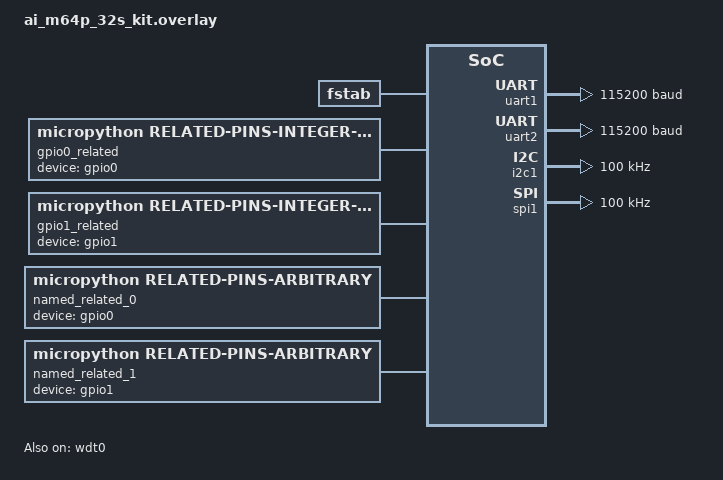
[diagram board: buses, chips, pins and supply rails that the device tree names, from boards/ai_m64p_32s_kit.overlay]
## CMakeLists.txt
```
# This file is part of the MicroPython project, http://micropython.org/
#
# The MIT License (MIT)
#
# Copyright 2020 NXP
#
# Permission is hereby granted, free of charge, to any person obtaining a copy
# of this software and associated documentation files (the "Software"), to deal
# in the Software without restriction, including without limitation the rights
# to use, copy, modify, merge, publish, distribute, sublicense, and/or sell
# copies of the Software, and to permit persons to whom the Software is
# furnished to do so, subject to the following conditions:
#
# The above copyright notice and this permission notice shall be included in
# all copies or substantial portions of the Software.
#
# THE SOFTWARE IS PROVIDED "AS IS", WITHOUT WARRANTY OF ANY KIND, EXPRESS OR
# IMPLIED, INCLUDING BUT NOT LIMITED TO THE WARRANTIES OF MERCHANTABILITY,
# FITNESS FOR A PARTICULAR PURPOSE AND NONINFRINGEMENT. IN NO EVENT SHALL THE
# AUTHORS OR COPYRIGHT HOLDERS BE LIABLE FOR ANY CLAIM, DAMAGES OR OTHER
# LIABILITY, WHETHER IN AN ACTION OF CONTRACT, TORT OR OTHERWISE, ARISING FROM,
# OUT OF OR IN CONNECTION WITH THE SOFTWARE OR THE USE OR OTHER DEALINGS IN
# THE SOFTWARE.

cmake_minimum_required(VERSION 3.20.0)

find_package(Zephyr REQUIRED HINTS $ENV{ZEPHYR_BASE})
project(micropython)

set(MICROPY_PORT_DIR    ${CMAKE_CURRENT_SOURCE_DIR})
set(MICROPY_DIR         ${MICROPY_PORT_DIR}/../..)
set(MICROPY_TARGET      micropython)
string(TOUPPER          ZEPHYR_${BOARD} MICROPY_BOARD)

include(${MICROPY_DIR}/py/py.cmake)
include(${MICROPY_DIR}/extmod/extmod.cmake)

# Resolve MICROPY_FROZEN_MANIFEST before usermod.cmake (and thus
# py/manifest.cmake) runs, so c_module() entries in the manifest are picked up.
if (CONFIG_MICROPY_FROZEN_MODULES)
    cmake_path(ABSOLUTE_PATH CONFIG_MICROPY_FROZEN_MANIFEST BASE_DIRECTORY ${CMAKE_CURRENT_LIST_DIR})
    set(MICROPY_FROZEN_MANIFEST ${CONFIG_MICROPY_FROZEN_MANIFEST})
endif()

include(${MICROPY_DIR}/py/usermod.cmake)

list(APPEND DTS_ROOT ${CMAKE_CURRENT_SOURCE_DIR}/dts)

# Define mpy-cross flags, for use with frozen code.
if(CONFIG_RISCV_ISA_RV32I AND CONFIG_RISCV_ISA_EXT_M AND CONFIG_RISCV_ISA_EXT_C)
    set(ARCH_FLAGS "")
    set(RV32_EXT "")
    if(CONFIG_RISCV_ISA_EXT_ZBA)
        list(APPEND RV32_EXT "zba")
    endif()
    if(CONFIG_RISCV_ISA_EXT_ZCMP)
        list(APPEND RV32_EXT "zcmp")
    endif()
    if(RV32_EXT)
        list(JOIN RV32_EXT "," RV32_EXT)
        set(ARCH_FLAGS "-march-flags=${RV32_EXT}")
    endif()
    set(MICROPY_CROSS_FLAGS "-march=rv32imc ${ARCH_FLAGS}")
elseif(CONFIG_RISCV_ISA_RV64I AND CONFIG_RISCV_ISA_EXT_M AND CONFIG_RISCV_ISA_EXT_C)
    set(MICROPY_CROSS_FLAGS -march=rv64imc)
endif()

set(MICROPY_SOURCE_PORT
    main.c
    help.c
    machine_i2c.c
    machine_spi.c
    machine_pin.c
    machine_timer.c
    modbluetooth_zephyr.c
    modsocket.c
    modzephyr.c
    modzsensor.c
    mphalport.c
    uart_core.c
    zephyr_device.c
    zephyr_storage.c
    zephyr_filesystem.c
    zephyr_display.c
    zephyr_regulator.c
    mpthreadport.c
    zephyr_device_api_kind.c
    zephyr_pinctrl.c
)
list(TRANSFORM MICROPY_SOURCE_PORT PREPEND ${MICROPY_PORT_DIR}/)

set(MICROPY_SOURCE_SHARED
    libc/printf.c
    readline/readline.c
    runtime/gchelper_generic.c
    runtime/interrupt_char.c
    runtime/mpirq.c
    runtime/pyexec.c
    runtime/stdout_helpers.c
    runtime/sys_stdio_mphal.c
    timeutils/timeutils.c
)
list(TRANSFORM MICROPY_SOURCE_SHARED PREPEND ${MICROPY_DIR}/shared/)

set(MICROPY_SOURCE_DRIVERS
    bus/softspi.c
)
list(TRANSFORM MICROPY_SOURCE_DRIVERS PREPEND ${MICROPY_DIR}/drivers/)

set(MICROPY_QSTRDEFS_PORT
    ${MICROPY_PORT_DIR}/qstrdefsport.h
)

if (CONFIG_MICROPY_VFS_FAT)

list(APPEND MICROPY_SOURCE_LIB
    oofatfs/ff.c
    oofatfs/ffunicode.c
)

endif()

if (CONFIG_MICROPY_VFS_LFS1)

list(APPEND MICROPY_SOURCE_LIB
    littlefs/lfs1.c
    littlefs/lfs1_util.c
)

endif()

if (CONFIG_MICROPY_VFS_LFS2)

list(APPEND MICROPY_SOURCE_LIB
    littlefs/lfs2.c
    littlefs/lfs2_util.c
)

endif()

list(TRANSFORM MICROPY_SOURCE_LIB PREPEND ${MICROPY_DIR}/lib/)

set(MICROPY_SOURCE_QSTR
    ${MICROPY_SOURCE_PY}
    ${MICROPY_SOURCE_EXTMOD}
    ${MICROPY_SOURCE_USERMOD}
    ${MICROPY_SOURCE_SHARED}
    ${MICROPY_SOURCE_DRIVERS}
    ${MICROPY_SOURCE_LIB}
    ${MICROPY_SOURCE_PORT}
)

zephyr_get_include_directories_for_lang(C includes)
zephyr_get_system_include_directories_for_lang(C system_includes)
zephyr_get_compile_definitions_for_lang(C definitions)
zephyr_get_compile_options_for_lang(C options)

set(MICROPY_CPP_FLAGS_EXTRA ${includes} ${system_includes} ${definitions} ${options})

zephyr_library_named(${MICROPY_TARGET})

zephyr_library_include_directories(
    ${MICROPY_INC_CORE}
    ${MICROPY_PORT_DIR}
    ${MICROPY_INC_USERMOD}
    ${CMAKE_CURRENT_BINARY_DIR}
    ${DTS_ROOT_SYSTEM_INCLUDE_DIRS}
)

zephyr_library_compile_options(
    -std=gnu99 -fomit-frame-pointer
)

zephyr_library_compile_definitions(
    NDEBUG
    MP_CONFIGFILE=<${CONFIG_MICROPY_CONFIGFILE}>
    MICROPY_HEAP_SIZE=${CONFIG_MICROPY_HEAP_SIZE}
    FFCONF_H=\"${MICROPY_OOFATFS_DIR}/ffconf.h\"
    MICROPY_VFS_FAT=$<BOOL:${CONFIG_MICROPY_VFS_FAT}>
    MICROPY_VFS_LFS1=$<BOOL:${CONFIG_MICROPY_VFS_LFS1}>
    MICROPY_VFS_LFS2=$<BOOL:${CONFIG_MICROPY_VFS_LFS2}>
)

zephyr_library_sources(${MICROPY_SOURCE_QSTR})
zephyr_library_link_libraries(kernel)

if (CONFIG_MICROPY_ROM_TEXT_COMPRESSION)
    set(MICROPY_ROM_TEXT_COMPRESSION ON)
endif()

include(${MICROPY_DIR}/py/mkrules.cmake)

add_dependencies(BUILD_VERSION_HEADER zephyr_generated_headers)
add_dependencies(${MICROPY_TARGET} zephyr_generated_headers)

target_sources(app PRIVATE
    src/zephyr_getchar.c
    src/usbd.c
)

target_link_libraries(app PRIVATE ${MICROPY_TARGET})

if (CONFIG_MICROPY_DYNAMIC_PINCTRL)
    if (CONFIG_MICROPY_DYNAMIC_PINCTRL_GENERATE_PINMUX AND NOT CONFIG_MICROPY_DYNAMIC_PINCTRL_CUSTOM_GENERATOR)

        find_file(
            MICROPY_DYNAMIC_PINCTRL_HEADER_FOUND
            ${CONFIG_MICROPY_DYNAMIC_PINCTRL_HEADER}
            ${DTS_ROOT_SYSTEM_INCLUDE_DIRS}
        )

        set(MICROPY_GENERATED_DYNAMIC_PINCTRL "${CMAKE_CURRENT_BINARY_DIR}/generated_dynamic_pinctrl.h")

        string(REPLACE ";" ";-I;" DTS_ROOT_SYSTEM_INCLUDE_DIRS_STRING "-I${DTS_ROOT_SYSTEM_INCLUDE_DIRS}")

        # Executed at configuration time to dump all the pinmux #define macros into a variable
        execute_process(
            COMMAND ${CMAKE_C_COMPILER}
                ${DTS_ROOT_SYSTEM_INCLUDE_DIRS_STRING}
                -dM -E ${MICROPY_DYNAMIC_PINCTRL_HEADER_FOUND}
            OUTPUT_VARIABLE MICROPY_PROCESSED_DYNAMIC_PINCTRL_HEADER_DATA
            COMMAND_ERROR_IS_FATAL ANY
        )

        # Parse defines via regex to identify the defines that are pinmux defines
        message("Using regex: ${CONFIG_MICROPY_DYNAMIC_PINCTRL_REGEX} for PinCtrl module generation")
        string(REGEX MATCHALL ${CONFIG_MICROPY_DYNAMIC_PINCTRL_REGEX} MICROPY_PROCESSED_DYNAMIC_PINCTRL_HEADER_DATA_REGEXED ${MICROPY_PROCESSED_DYNAMIC_PINCTRL_HEADER_DATA})

        add_custom_command(
            OUTPUT
                ${MICROPY_GENERATED_DYNAMIC_PINCTRL}
            DEPENDS ${MICROPY_DYNAMIC_PINCTRL_HEADER_FOUND}
            COMMAND python ${MICROPY_PORT_DIR}/dynamic_pinctrl/generate_dynamic_pinctrl.py ${MICROPY_GENERATED_DYNAMIC_PINCTRL} ${MICROPY_PROCESSED_DYNAMIC_PINCTRL_HEADER_DATA_REGEXED}
        )

        add_custom_target(
            generate_dynamic_pinctrl_target
            DEPENDS ${MICROPY_GENERATED_DYNAMIC_PINCTRL}
        )

        add_dependencies(${MICROPY_TARGET} generate_dynamic_pinctrl_target)

    elseif (CONFIG_MICROPY_DYNAMIC_PINCTRL_GENERATE_PINMUX AND CONFIG_MICROPY_DYNAMIC_PINCTRL_CUSTOM_GENERATOR)

        set(MICROPY_GENERATED_DYNAMIC_PINCTRL "${CMAKE_CURRENT_BINARY_DIR}/generated_dynamic_pinctrl.h")

        add_custom_command(
            OUTPUT
                ${MICROPY_GENERATED_DYNAMIC_PINCTRL}
            DEPENDS ${CONFIG_MICROPY_DYNAMIC_PINCTRL_HEADER}
            COMMAND python ${MICROPY_PORT_DIR}/${CONFIG_MICROPY_DYNAMIC_PINCTRL_SCRIPT} ${MICROPY_GENERATED_DYNAMIC_PINCTRL} ${CONFIG_MICROPY_DYNAMIC_PINCTRL_HEADER} ${CONFIG_MICROPY_DYNAMIC_PINCTRL_ARG}
        )

        add_custom_target(
            generate_dynamic_pinctrl_target
            DEPENDS ${MICROPY_GENERATED_DYNAMIC_PINCTRL}
        )

        add_dependencies(${MICROPY_TARGET} generate_dynamic_pinctrl_target)

    endif()
endif()
```

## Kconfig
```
# This file is part of the MicroPython project, http://micropython.org/
#
# The MIT License (MIT)
#
# Copyright 2020 NXP
#
# Permission is hereby granted, free of charge, to any person obtaining a copy
# of this software and associated documentation files (the "Software"), to deal
# in the Software without restriction, including without limitation the rights
# to use, copy, modify, merge, publish, distribute, sublicense, and/or sell
# copies of the Software, and to permit persons to whom the Software is
# furnished to do so, subject to the following conditions:
#
# The above copyright notice and this permission notice shall be included in
# all copies or substantial portions of the Software.
#
# THE SOFTWARE IS PROVIDED "AS IS", WITHOUT WARRANTY OF ANY KIND, EXPRESS OR
# IMPLIED, INCLUDING BUT NOT LIMITED TO THE WARRANTIES OF MERCHANTABILITY,
# FITNESS FOR A PARTICULAR PURPOSE AND NONINFRINGEMENT. IN NO EVENT SHALL THE
# AUTHORS OR COPYRIGHT HOLDERS BE LIABLE FOR ANY CLAIM, DAMAGES OR OTHER
# LIABILITY, WHETHER IN AN ACTION OF CONTRACT, TORT OR OTHERWISE, ARISING FROM,
# OUT OF OR IN CONNECTION WITH THE SOFTWARE OR THE USE OR OTHER DEALINGS IN
# THE SOFTWARE.

menu "MicroPython Options"

config MICROPY_CONFIGFILE
	string "Configuration file"
	default "mpconfigport_minimal.h"

config MICROPY_HEAP_SIZE
	int "Heap size"
	default 49152

config MICROPY_VFS_FAT
	bool "FatFS file system"
	depends on !FAT_FILESYSTEM_ELM

config MICROPY_VFS_LFS1
	bool "LittleFs version 1 file system"

config MICROPY_VFS_LFS2
	bool "LittleFs version 2 file system"

config MICROPY_FROZEN_MODULES
	bool "Enable Frozen Modules"
	default y if FLASH_MAP || DISK_ACCESS

config MICROPY_FROZEN_MANIFEST
	string "Path to Frozen Modules manifest.py"
	depends on MICROPY_FROZEN_MODULES
	default "boards/manifest.py"

config MICROPY_USB_DEVICE_VID
	hex "USB VID"
	default 0x2fe3

config MICROPY_USB_DEVICE_PID
	hex "USB PID"
	default 0x0001

choice MICROPY_CONFIG_ROM_LEVEL
	prompt  "MicroPython Features level"
	default MICROPY_CONFIG_ROM_LEVEL_BASIC_FEATURES

	config MICROPY_CONFIG_ROM_LEVEL_MINIMUM
		bool "Disable all optional features"

	config MICROPY_CONFIG_ROM_LEVEL_CORE_FEATURES
		bool "Only enable core features"

	config MICROPY_CONFIG_ROM_LEVEL_BASIC_FEATURES
		bool "Enable most common features"

	config MICROPY_CONFIG_ROM_LEVEL_EXTRA_FEATURES
		bool "Enable convenience features"

	config MICROPY_CONFIG_ROM_LEVEL_FULL_FEATURES
		bool "Enable all common features"

	config MICROPY_CONFIG_ROM_LEVEL_EVERYTHING
		bool "Enable everything"

endchoice

config MICROPY_DYNAMIC_DEVICE_INFOS
	bool "Allow querying more information about devices at runtime"
	depends on DEVICE_DT_METADATA
	help
		Fully live runtime-accessible devicetree for leisurely micropython browsing.

config MICROPY_DYNAMIC_PINCTRL
	bool "Enable Dynamic Pins"
	depends on DEVICE_DT_METADATA
	help
		Switch pin roles at runtime.

if MICROPY_DYNAMIC_PINCTRL

config MICROPY_DYNAMIC_PINCTRL_MAX
	int "Maximum number of pins per pinctrl"
	default 16
	help
		How many pins may be contained in a single pinctrl state,
		or how many pin one peripheral may need to use at the same time

config MICROPY_DYNAMIC_PINCTRL_STATES_MAX
	int "Maximum number of pinctrl states"
	default 2
	help
		If the platform uses more state than 'default' and 'sleep', this may be more than 2.

config MICROPY_DYNAMIC_PINCTRL_GENERATE_PINMUX
	bool "Generate pinmux from dts header files"
	default y
	help
		Generate a pinmux database for use at runtime.
		Use an automated script to generated a pinmux database from headers listing possible
		pinmuxes.
		The default mode is appropriate for platforms that have simple muxing: bflb, rpi_pico, wch, atmel...
		This will not work on platform using other methods of defining pinctrl,
		like stm32, nordic, or espressif, which will require MICROPY_DYNAMIC_PINCTRL_CUSTOM_GENERATOR
		or this feature being disabled.

config MICROPY_DYNAMIC_PINCTRL_CUSTOM_GENERATOR
	bool "Enable Dynamic Pins with custom pinmux generator script"

choice MICROPY_DYNAMIC_PINCTRL_SUPPORT
	bool "Whether dynamic pinctrl is legal on the platform"
	default MICROPY_DYNAMIC_PINCTRL_SUPPORT_LEGAL

	config MICROPY_DYNAMIC_PINCTRL_SUPPORT_LEGAL
		bool "Dynamic pinctrl is legal and relies on peripheral deinit"
		select DEVICE_DEINIT_SUPPORT
		select PINCTRL_DYNAMIC
		help
			Use pinctrl_update_states to change pinctrl states after deinitializing the device.
			If the targeted device doesn't support deinit, the pinctrl can only be set a single time.

	config MICROPY_DYNAMIC_PINCTRL_SUPPORT_ILLEGAL
		bool "Dynamic pinctrl is illegal and forces pinctrl changes without deinit"
		help
			Illegally use the pinctrl_configure_pins function to set pinctrl while the device is instantiated.

endchoice

choice MICROPY_DYNAMIC_PINCTRL_GPIO_PREVIOUS
	bool "Configure Pins previously used by a peripheral as GPIOs once they are disused"
	default MICROPY_DYNAMIC_PINCTRL_GPIO_PREVIOUS_DIRECT

	config MICROPY_DYNAMIC_PINCTRL_GPIO_PREVIOUS_NO
		bool "Do not reset previously used pins"
		help
			Either the platform does not require muxing-off the pin roles,
			or the user code may do the muxing-off via the GPIO API.

	config MICROPY_DYNAMIC_PINCTRL_GPIO_PREVIOUS_UPDATE
		bool "Update the old pins via the update state"
		depends on MICROPY_DYNAMIC_PINCTRL_SUPPORT_LEGAL
		help
			The pinctrl states list also contains the previously used pins disabling role,
			such that those pins are muxed-off when the peripheral init applies the states.

	config MICROPY_DYNAMIC_PINCTRL_GPIO_PREVIOUS_DIRECT
		bool "Update the old pins with pinctrl_configure_pins"
		help
			Use the pinctrl_configure_pins function to mux-off pins while device is deinitialized.

endchoice

if MICROPY_DYNAMIC_PINCTRL_GENERATE_PINMUX

if MICROPY_DYNAMIC_PINCTRL_CUSTOM_GENERATOR

config MICROPY_DYNAMIC_PINCTRL_ARG
	string "Custom argument for filtering by board"

config MICROPY_DYNAMIC_PINCTRL_SCRIPT
	string "Custom generator script"

endif # MICROPY_DYNAMIC_PINCTRL_CUSTOM_GENERATOR

if !MICROPY_DYNAMIC_PINCTRL_CUSTOM_GENERATOR

config MICROPY_DYNAMIC_PINCTRL_REGEX
	string "Regex to identify pinmux definitions"

endif # !MICROPY_DYNAMIC_PINCTRL_CUSTOM_GENERATOR

config MICROPY_DYNAMIC_PINCTRL_HEADER
	string "Path to header containing pinmux definitions"

endif # MICROPY_DYNAMIC_PINCTRL_GENERATE_PINMUX

config MICROPY_DYNAMIC_PINCTRL_BUILDER_FILE
	string "Path to file defining functions to build pinctrl structure"
	help
		The platform must define some functions to be able to use dynamic pinctrl.

choice MICROPY_DYNAMIC_PINCTRL_PINMUX_TYPE
	prompt "How to handle the DTS pinmux type"
	default MICROPY_DYNAMIC_PINCTRL_PINMUX_TYPE_UINT32_T
	help
		Define how the PinMux type functions in relation to the actual pinmux data storage
		and definition. Most platform's pinmuxes are stored as simple uint32_t.
		Platforms using in-tree muxing (nordic, stm32, esp32...) require custom pinmux handling.

	config MICROPY_DYNAMIC_PINCTRL_PINMUX_TYPE_UINT32_T
		bool "The DTS pinmux type is uint32_t"

	config MICROPY_DYNAMIC_PINCTRL_PINMUX_TYPE_CUSTOM
		bool "The DTS pinmux type is custom"

endchoice

if MICROPY_DYNAMIC_PINCTRL_PINMUX_TYPE_CUSTOM

config MICROPY_DYNAMIC_PINCTRL_PINMUX_TYPE_FILE
	string "File defining the pinmux type"

endif # MICROPY_DYNAMIC_PINCTRL_PINMUX_TYPE_CUSTOM

endif # MICROPY_DYNAMIC_PINCTRL

config MICROPY_RELATED_PINS
	bool "Use platform-specific Pin identification"
	help
		This allows using Pins exactly like a normal micropython port by breaking
		the GPIO device to Pin disconnect via platform-specific code.

choice MICROPY_GETCHAR
	prompt  "Getchar driver to use for the console"
	default MICROPY_GETCHAR_CONSOLE_DRIVER

	config MICROPY_GETCHAR_CONSOLE_DRIVER
		bool "Use the console driver getchar"
		depends on !CONSOLE_SUBSYS
		depends on UART_CONSOLE
		depends on UART_CONSOLE_DEBUG_SERVER_HOOKS
		help
			Use the uart_console driver API directly to access interrupts via a mix
			of UART-like drivers and standard I/O. The console buffer is managed by
			MicroPython.

	config MICROPY_GETCHAR_CONSOLE_SUBSYS
		bool "Use the console subsys getchar"
		depends on CONSOLE_SUBSYS
		depends on CONSOLE_GETCHAR
		help
			Let Zephyr handle all the console management including the buffers via
			the console subsystem.

endchoice

if MICROPY_GETCHAR_CONSOLE_DRIVER

config MICROPY_GETCHAR_CONSOLE_DRIVER_BUF_SIZE
	int "Size of the console driver getchar buffer"
	default 1024

endif # MICROPY_GETCHAR_CONSOLE_DRIVER

config MICROPY_ROM_TEXT_COMPRESSION
	bool "Enable ROM text compression"
	help
		Enable ROM text compression to save flash space.

endmenu # MicroPython Options

source "Kconfig.zephyr"
```

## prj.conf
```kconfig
CONFIG_BUILD_OUTPUT_BIN=y
CONFIG_BUILD_OUTPUT_HEX=y
CONFIG_REBOOT=y

CONFIG_STDOUT_CONSOLE=y
CONFIG_CONSOLE_HANDLER=y
CONFIG_UART_CONSOLE_DEBUG_SERVER_HOOKS=y

CONFIG_FPU=y
CONFIG_MAIN_STACK_SIZE=4736
CONFIG_POLL=y

CONFIG_DEVICE_DT_METADATA=y

# Enable sensor subsystem (doesn't add code if not used).
# Specific sensors should be enabled per-board.
CONFIG_SENSOR=y


# Diagnostics and debugging

# Enable logging, minimal logging is way less likely to cause issues
#CONFIG_LOG=y
#CONFIG_LOG_MODE_MINIMAL=y

# Required for zephyr.stack_analyze()
CONFIG_THREAD_ANALYZER=y
CONFIG_THREAD_ANALYZER_USE_PRINTK=y
CONFIG_THREAD_NAME=y

# Required for zephyr.shell_exec()
#CONFIG_SHELL=y
#CONFIG_SHELL_BACKEND_SERIAL_INTERRUPT_DRIVEN=n

# MicroPython options
CONFIG_MICROPY_CONFIGFILE="mpconfigport.h"
CONFIG_MICROPY_VFS_FAT=y
CONFIG_MICROPY_VFS_LFS2=y

CONFIG_WATCHDOG=y
CONFIG_WDT_DISABLE_AT_BOOT=y

CONFIG_SERIAL=y
CONFIG_UART_INTERRUPT_DRIVEN=y
CONFIG_UART_LINE_CTRL=y
CONFIG_UART_USE_RUNTIME_CONFIGURE=y

CONFIG_LEGACY_GENERATED_INCLUDE_PATH=n

# Prefer using thread local storage over thread custom data whenever it is possible
CONFIG_THREAD_LOCAL_STORAGE=y
#CONFIG_THREAD_CUSTOM_DATA=y
```

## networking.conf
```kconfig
# Networking config
CONFIG_NETWORKING=y
CONFIG_NET_IPV4=y
#CONFIG_NET_IPV6=y
CONFIG_NET_UDP=y
CONFIG_NET_TCP=y
CONFIG_NET_SOCKETS=y
CONFIG_NET_HOSTNAME_ENABLE=y
CONFIG_NET_HOSTNAME_DYNAMIC=y
CONFIG_ENTROPY_GENERATOR=y
# When no entropy driver
#CONFIG_TEST_RANDOM_GENERATOR=y
# Enable TLS sockets
CONFIG_NET_SOCKETS_SOCKOPT_TLS=y
# More than 1 context allows the gc to be late on cleaning up disused TLS sockets
CONFIG_NET_SOCKETS_TLS_MAX_CONTEXTS=2
CONFIG_NET_SOCKETS_INET_RAW=y
# Allow polling more sockets at once, the default might even be too low to allow basic functionality
CONFIG_ZVFS_POLL_MAX=10
# When using more than one interface (wifi sta + lan, wifi sta + ap), have as many IP slots as can be necessary
#CONFIG_NET_IF_MAX_IPV6_COUNT=2
#CONFIG_NET_IF_MAX_IPV4_COUNT=2

# Get MAC from device ID
CONFIG_HWINFO=y

# Buffers big enough for basic TLS with micropython.org and mip for setup without extra memory
# 16KB is the standard max TLS size for the contents, however 8KB is often sufficient
# Without CONFIG_MBEDTLS_ENABLE_HEAP=y, the LIBC malloca arena is the allocation area used
CONFIG_COMMON_LIBC_MALLOC=y
CONFIG_COMMON_LIBC_MALLOC_ARENA_SIZE=32768
CONFIG_MBEDTLS_SSL_VARIABLE_BUFFER_LENGTH=y
CONFIG_MBEDTLS_SSL_IN_CONTENT_LEN=10240
CONFIG_MBEDTLS_SSL_OUT_CONTENT_LEN=4096

# Or use external / not boot memory space via DTS
# LIBC malloc should still be bound and configured for safety instead of using whatever ram space is left
# as the default setting is (-1)
#CONFIG_COMMON_LIBC_MALLOC=y
#CONFIG_COMMON_LIBC_MALLOC_ARENA_SIZE=16384

# DNS
CONFIG_DNS_RESOLVER=y
CONFIG_DNS_RESOLVER_AUTO_INIT=y
CONFIG_DNS_RESOLVER_ADDITIONAL_QUERIES=2
CONFIG_DNS_RESOLVER_MAX_SERVERS=2
CONFIG_NET_SOCKETS_DNS_TIMEOUT=4000

# DHCP configuration.
CONFIG_NET_DHCPV4=y
#CONFIG_NET_DHCPV6=y
# Recommended for WiFi APs
CONFIG_NET_DHCPV4_SERVER=y
#CONFIG_NET_DHCPV6_SERVER=y

# Required for socket.pkt_get_info()
CONFIG_NET_BUF_POOL_USAGE=y

# Do provide a decent amount of zephyr heap, yet less than recommended if often enough:
# Most features won't be used all at the same time
#CONFIG_HEAP_MEM_POOL_SIZE=32768
#CONFIG_HEAP_MEM_POOL_IGNORE_MIN=y

# Enable heap statistics module to watch out for issues
#CONFIG_SYS_HEAP_RUNTIME_STATS=y

# Required for zephyr.shell_exec("net iface")
#CONFIG_NET_SHELL=y

# Don't use a ton of RAM for nothing with MbedTLS
#CONFIG_MBEDTLS_PSA_STATIC_KEY_SLOTS=n

# Or use static network settings
#CONFIG_NET_CONFIG_SETTINGS=y
#CONFIG_NET_CONFIG_INIT_TIMEOUT=3
#CONFIG_NET_CONFIG_NEED_IPV6=y
#CCONFIG_NET_CONFIG_NEED_IPV4=y
#CONFIG_NET_CONFIG_MY_IPV6_ADDR="2001:db8::1"
#CONFIG_NET_CONFIG_MY_IPV4_ADDR="192.0.2.1"
#CONFIG_NET_CONFIG_MY_IPV4_GW="192.0.2.2"
#CONFIG_DNS_SERVER1="192.0.2.2"

# Uncomment to enable "INFO" level net_buf logging
#CONFIG_NET_LOG=y
#CONFIG_NET_DEBUG_NET_BUF=y
# Change to 4 for "DEBUG" level
#CONFIG_SYS_LOG_NET_LEVEL=3

# Network might require manually enabling TLS features
#CONFIG_MBEDTLS_SSL_PROTO_TLS1_2=y
#CONFIG_MBEDTLS_X509_USE_C=y
#CONFIG_MBEDTLS_X509_CRT_PARSE_C=y
#CONFIG_MBEDTLS_PEM_PARSE_C=y
#CONFIG_MBEDTLS_BASE64_C=y
#CONFIG_MBEDTLS_ENTROPY_C=y
#CONFIG_MBEDTLS_CIPHER=y
#CONFIG_MBEDTLS_CIPHERSUITE_TLS_ECDHE_RSA_WITH_AES_128_CBC_SHA256=y
#CONFIG_MBEDTLS_HASH_ALL_ENABLED=y
#CONFIG_PSA_WANT_ALG_SHA_1=y
```

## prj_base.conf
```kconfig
CONFIG_BUILD_OUTPUT_BIN=y
CONFIG_REBOOT=y

CONFIG_STDOUT_CONSOLE=y
CONFIG_CONSOLE_HANDLER=y
CONFIG_UART_CONSOLE_DEBUG_SERVER_HOOKS=y

CONFIG_CONSOLE_SUBSYS=y
CONFIG_CONSOLE_GETCHAR=y
CONFIG_CONSOLE_GETCHAR_BUFSIZE=128
CONFIG_CONSOLE_PUTCHAR_BUFSIZE=128

CONFIG_NEWLIB_LIBC=y
CONFIG_FLOAT=y
CONFIG_MAIN_STACK_SIZE=4736

# Enable sensor subsystem (doesn't add code if not used).
# Specific sensors should be enabled per-board.
CONFIG_SENSOR=y

# Networking config
CONFIG_NETWORKING=y
CONFIG_NET_IPV4=y
CONFIG_NET_IPV6=y
CONFIG_NET_UDP=y
CONFIG_NET_TCP=y
CONFIG_NET_SOCKETS=y
CONFIG_TEST_RANDOM_GENERATOR=y

CONFIG_NET_CONFIG_SETTINGS=y
CONFIG_NET_CONFIG_INIT_TIMEOUT=3
CONFIG_NET_CONFIG_NEED_IPV6=y
CONFIG_NET_CONFIG_NEED_IPV4=y

# DNS
CONFIG_DNS_RESOLVER=y
CONFIG_DNS_RESOLVER_ADDITIONAL_QUERIES=2
CONFIG_DNS_SERVER_IP_ADDRESSES=y

# Static IP addresses
CONFIG_NET_CONFIG_MY_IPV6_ADDR="2001:db8::1"
CONFIG_NET_CONFIG_MY_IPV4_ADDR="192.0.2.1"
CONFIG_NET_CONFIG_MY_IPV4_GW="192.0.2.2"
CONFIG_DNS_SERVER1="192.0.2.2"

# DHCP configuration. Until DHCP address is assigned,
# static configuration above is used instead.
CONFIG_NET_DHCPV4=y

# Diagnostics and debugging

# Required for zephyr.stack_analyze()
CONFIG_INIT_STACKS=y
CONFIG_THREAD_MONITOR=y
CONFIG_THREAD_NAME=y
CONFIG_THREAD_STACK_INFO=y

# Required for usocket.pkt_get_info()
CONFIG_NET_BUF_POOL_USAGE=y

# Required for usocket.shell_*()
#CONFIG_NET_SHELL=y

# Uncomment to enable "INFO" level net_buf logging
#CONFIG_NET_LOG=y
#CONFIG_NET_DEBUG_NET_BUF=y
# Change to 4 for "DEBUG" level
#CONFIG_SYS_LOG_NET_LEVEL=3

CONFIG_FILE_SYSTEM=y
```

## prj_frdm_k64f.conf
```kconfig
# Networking drivers
CONFIG_NET_L2_ETHERNET=y

# Hardware features
CONFIG_I2C=y

# Sensor drivers
CONFIG_FXOS8700=y
CONFIG_FXOS8700_MODE_HYBRID=y
CONFIG_FXOS8700_TEMP=y

# Flash drivers
CONFIG_FLASH=y
CONFIG_FLASH_MAP=y
CONFIG_MPU_ALLOW_FLASH_WRITE=y
```

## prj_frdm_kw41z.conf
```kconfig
# Sensor drivers
CONFIG_FXOS8700=y
CONFIG_FXOS8700_MODE_HYBRID=y
CONFIG_FXOS8700_TEMP=y
```

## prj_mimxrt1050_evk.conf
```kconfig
# Required for zephyr.DiskAccess block devices
CONFIG_DISK_ACCESS=y
CONFIG_DISK_ACCESS_SDHC=y
```

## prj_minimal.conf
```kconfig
CONFIG_FPU=y
CONFIG_MAIN_STACK_SIZE=4096
CONFIG_POLL=y

CONFIG_UART_INTERRUPT_DRIVEN=y
CONFIG_CONSOLE_SUBSYS=y
CONFIG_CONSOLE_GETCHAR=y
CONFIG_CONSOLE_GETCHAR_BUFSIZE=512
CONFIG_CONSOLE_PUTCHAR_BUFSIZE=32

CONFIG_MICROPY_HEAP_SIZE=16384

CONFIG_LEGACY_GENERATED_INCLUDE_PATH=n
```

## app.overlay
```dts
/ {
	uvc0: uvc0 {
		compatible = "zephyr,uvc-device";
	};
};
```

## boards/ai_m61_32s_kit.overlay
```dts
/*
 * Copyright (c) 2025 MASSDRIVER EI (massdriver.space)
 *
 * SPDX-License-Identifier: Apache-2.0
 */

/ {
	fstab {
		compatible = "zephyr,fstab";
		lfs: lfs {
			compatible = "zephyr,fstab,littlefs";
			mount-point = "/flash";
			partition = <&storage_partition>;
			read-size=<16>;
			prog-size=<256>;
			cache-size=<1024>;
			lookahead-size=<32>;
			block-cycles=<256>;
		};
	};

	heap_psram {
		compatible = "micropython,heap";
		size = <DT_SIZE_M(4)>;
		memory-region = <&psram>;
	};

	gpio0_related {
		compatible = "micropython,related-pins-integer-generator";
		gpio-device = <&gpio0>;
		gpio-micropython-ranges = <0 32>;
	};

	gpio1_related {
		compatible = "micropython,related-pins-integer-generator";
		gpio-device = <&gpio1>;
		gpio-micropython-ranges = <32 3>;
		gpio-zephyr-ranges = <0 3>;
	};

	named_related_0 {
		compatible = "micropython,related-pins-arbitrary";
		gpio-device = <&gpio0>;
		gpio-micropython-strings = "R", "G", "B", "CW", "WW",
			"red", "green", "blue", "coldwhite", "warmwhite",
			"BOOT";
		gpio-zephyr-ids = <12 14 15 29 27>,
			<12 14 15 29 27>,
			<2>;
	};
};

&wdt0 {
	status = "okay";
};

&pinctrl {
	uart1_default: uart1_default {
		group1 {
			pinmux = <GPIO3_UART1_TX>;
		};
	};
};

&uart1 {
	status = "okay";
	current-speed = <115200>;
	zephyr,deferred-init;
	/* A pinctrl struct MUST have been allocated at build time to use dynamic pinctrl,
	 * but it can be nonsense if needed as the device is deferred-init
	 * and pinctrl won't be applied until device init.
	 */
	pinctrl-0 = <&uart1_default>;
	pinctrl-names = "default";
};

&pinctrl {
	i2c1_default: i2c1_default {
		group1 {
			pinmux = <GPIO3_I2C1_SDA>;
		};
	};
};

&i2c1 {
	status = "okay";
	clock-frequency = <I2C_BITRATE_STANDARD>;
	zephyr,deferred-init;
	pinctrl-0 = <&i2c1_default>;
	pinctrl-names = "default";
};
```

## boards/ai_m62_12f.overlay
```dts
&pinctrl {
	uart1_default: uart1_default {
		group1 {
			pinmux = <GPIO3_UART1_TX>;
		};
	};
};

&uart1 {
	status = "okay";
	current-speed = <115200>;
	zephyr,deferred-init;
	/* A pinctrl struct MUST have been allocated at build time to use dynamic pinctrl,
	 * but it can be nonsense if needed as the device is deferred-init
	 * and pinctrl won't be applied until device init.
	 */
	pinctrl-0 = <&uart1_default>;
	pinctrl-names = "default";

};
```

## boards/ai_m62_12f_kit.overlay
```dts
/*
 * Copyright (c) 2025 MASSDRIVER EI (massdriver.space)
 *
 * SPDX-License-Identifier: Apache-2.0
 */

/ {
	fstab {
		compatible = "zephyr,fstab";
		lfs: lfs {
			compatible = "zephyr,fstab,littlefs";
			mount-point = "/flash";
			partition = <&storage_partition>;
			read-size=<16>;
			prog-size=<256>;
			cache-size=<1024>;
			lookahead-size=<32>;
			block-cycles=<256>;
		};
	};

	gpio0_related {
		compatible = "micropython,related-pins-integer-generator";
		gpio-device = <&gpio0>;
		gpio-micropython-ranges = <0 4>, <10 6>, <17 1>, <20 3>, <27 4>;
		gpio-zephyr-ranges = <0 4>, <10 6>, <17 1>, <20 3>, <27 4>;
	};

	named_related_0 {
		compatible = "micropython,related-pins-arbitrary";
		gpio-device = <&gpio0>;
		gpio-micropython-strings = "R", "G", "B", "CW", "WW",
			"red", "green", "blue", "coldwhite", "warmwhite",
			"BOOT";
		gpio-zephyr-ids = <1 30 0 29 27>,
			<1 30 0 29 27>,
			<2>;
	};
};

&wdt0 {
	status = "okay";
};

&pinctrl {
	uart1_default: uart1_default {
		group1 {
			pinmux = <GPIO3_UART1_TX>;
		};
	};
};

&uart1 {
	status = "okay";
	current-speed = <115200>;
	zephyr,deferred-init;
	/* A pinctrl struct MUST have been allocated at build time to use dynamic pinctrl,
	 * but it can be nonsense if needed as the device is deferred-init
	 * and pinctrl won't be applied until device init.
	 */
	pinctrl-0 = <&uart1_default>;
	pinctrl-names = "default";
};

&adc0 {
	status = "disabled";
};

&pinctrl {
	i2c1_default: i2c1_default {
		group1 {
			pinmux = <GPIO3_I2C1_SDA>;
		};
	};
};

&i2c1 {
	status = "okay";
	clock-frequency = <I2C_BITRATE_STANDARD>;
	zephyr,deferred-init;
	pinctrl-0 = <&i2c1_default>;
	pinctrl-names = "default";
};
```

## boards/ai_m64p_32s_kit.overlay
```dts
/*
 * Copyright (c) 2026 MASSDRIVER EI (massdriver.space)
 *
 * SPDX-License-Identifier: Apache-2.0
 */

/ {
	fstab {
		compatible = "zephyr,fstab";
		lfs: lfs {
			compatible = "zephyr,fstab,littlefs";
			mount-point = "/flash";
			partition = <&storage_partition>;
			read-size=<16>;
			prog-size=<256>;
			cache-size=<1024>;
			lookahead-size=<32>;
			block-cycles=<256>;
		};
	};

	heap_psram {
		compatible = "micropython,heap";
		size = <DT_SIZE_M(4)>;
		memory-region = <&psram>;
	};

	gpio0_related {
		compatible = "micropython,related-pins-integer-generator";
		gpio-device = <&gpio0>;
		gpio-micropython-ranges = <0 32>;
	};

	gpio1_related {
		compatible = "micropython,related-pins-integer-generator";
		gpio-device = <&gpio1>;
		gpio-micropython-ranges = <32 5>;
		gpio-zephyr-ranges = <0 5>;
	};

	named_related_0 {
		compatible = "micropython,related-pins-arbitrary";
		gpio-device = <&gpio0>;
		gpio-micropython-strings = "R", "G", "B", "CW", "WW",
			"red", "green", "blue", "coldwhite", "warmwhite";
		gpio-zephyr-ids = <14 15 16 27 28>,
			<14 15 16 27 28>;
	};

	named_related_1 {
		compatible = "micropython,related-pins-arbitrary";
		gpio-device = <&gpio1>;
		gpio-micropython-strings = "BOOT";
		gpio-zephyr-ids = <4>;
	};
};

&wdt0 {
	status = "okay";
};

&pinctrl {
	uart1_default: uart1_default {
		group1 {
			pinmux = <GPIO3_UART1_TX>;
		};
	};
};

&uart1 {
	status = "okay";
	current-speed = <115200>;
	zephyr,deferred-init;
	/* A pinctrl struct MUST have been allocated at build time to use dynamic pinctrl,
	 * but it can be nonsense if needed as the device is deferred-init
	 * and pinctrl won't be applied until device init.
	 */
	pinctrl-0 = <&uart1_default>;
	pinctrl-names = "default";
};

&pinctrl {
	uart2_default: uart2_default {
		group1 {
			pinmux = <GPIO3_UART2_TX>;
		};
	};
};

&uart2 {
	status = "okay";
	current-speed = <115200>;
	zephyr,deferred-init;
	pinctrl-0 = <&uart2_default>;
	pinctrl-names = "default";
};

&pinctrl {
	i2c1_default: i2c1_default {
		group1 {
			pinmux = <GPIO3_I2C1_SDA>;
		};
	};
};

&i2c1 {
	status = "okay";
	clock-frequency = <I2C_BITRATE_STANDARD>;
	zephyr,deferred-init;
	pinctrl-0 = <&i2c1_default>;
	pinctrl-names = "default";
};

&pinctrl {
	spi1_default: spi1_default {
		group1 {
			pinmux = <GPIO3_SPI1_MOSI>;
		};
	};
};

&spi1 {
	status = "okay";
	clock-frequency = <I2C_BITRATE_STANDARD>;
	zephyr,deferred-init;
	pinctrl-0 = <&spi1_default>;
	pinctrl-names = "default";
};
```

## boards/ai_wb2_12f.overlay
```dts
&pinctrl {
	uart1_default: uart1_default {
		group1 {
			pinmux = <GPIO14_UART1_TX>;
		};
	};
};

&uart1 {
	status = "okay";
	current-speed = <115200>;
	zephyr,deferred-init;
	/* A pinctrl struct MUST have been allocated at build time to use dynamic pinctrl,
	 * but it can be nonsense if needed as the device is deferred-init
	 * and pinctrl won't be applied until device init.
	 */
	pinctrl-0 = <&uart1_default>;
	pinctrl-names = "default";

};
```

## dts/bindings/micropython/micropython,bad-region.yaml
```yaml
# Copyright (c) 2026 MASSDRIVER EI (massdriver.space)
# SPDX-License-Identifier: Apache-2.0

title: Mock memory-region to fix misuse of zephyr,memory-region

description: |
    Mock a zephyr,memory-region node to fix platforms misusing it causing the linker section name to
    not match the string name used.

compatible: "micropython,bad-region"

properties:
  zephyr,memory-region:
    type: string
    required: true
    description: |
      Name of linker section to use.
```

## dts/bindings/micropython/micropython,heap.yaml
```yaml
# Copyright (c) 2025 MASSDRIVER EI (massdriver.space)
# SPDX-License-Identifier: Apache-2.0

description: |
    MicroPython Heap
    Used to define micropython heap areas.

compatible: "micropython,heap"

include: [base.yaml]

properties:
  size:
    type: int
    required: true
    description: |
      Size of the heap

  memory-region:
    type: phandle
    required: true
    description: |
      Memory region to place the heap in
```

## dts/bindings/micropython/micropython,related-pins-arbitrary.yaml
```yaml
# Copyright (c) 2026 MASSDRIVER EI (massdriver.space)
# SPDX-License-Identifier: Apache-2.0

title: MicroPython Related Pins using arbitrary matches

description: |
        Generate a pin list associated with a GPIO device using arbitrary string to gpio matches.

compatible: "micropython,related-pins-arbitrary"

include: ["micropython,related-pins-common.yaml"]

properties:
  gpio-micropython-strings:
    type: string-array
    required: true
    description: |
      Strings values to use, in order.

  gpio-zephyr-ids:
    type: array
    required: true
    description: |
      GPIO numbers to use, in order.

examples:
  - |
    gpio1_related {
      compatible = "micropython,related-pins-arbitrary";
      gpio-device = <&gpio1>;
      gpio-micropython-strings = "LOREM", "IPSUM", "DOLOR";
      gpio-zephyr-ids = <0 1 2>;
    };
```

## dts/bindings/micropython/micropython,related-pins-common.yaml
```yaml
# Copyright (c) 2026 MASSDRIVER EI (massdriver.space)
# SPDX-License-Identifier: Apache-2.0

title: MicroPython Related Pins common properties

include: [base.yaml]

properties:
  gpio-device:
    type: phandle
    required: true
    description: |
      GPIO device for this set of related pins
```

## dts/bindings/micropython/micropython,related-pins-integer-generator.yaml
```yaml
# Copyright (c) 2026 MASSDRIVER EI (massdriver.space)
# SPDX-License-Identifier: Apache-2.0

title: MicroPython Related Pins using pure integers for identification

description: |
        Generate a pin list associated with a GPIO device using an integer format,
        this produces sets similar to the RP2 or ESP32 port's Pin identifiers.

compatible: "micropython,related-pins-integer-generator"

include: ["micropython,related-pins-common.yaml"]

properties:
  gpio-micropython-ranges:
    type: array
    required: true
    description: |
      Integer Pin ranges on micropython side. It must not overlap other generator's ranges.
      The format is identical to 'gpio-reserved-ranges' from a gpio-controller.
      The count of pairs must match gpio-zephyr-ranges'.

  gpio-zephyr-ranges:
    type: array
    default: [0, 32]
    description: |
      Integer Pin ranges on zephyr size.
      The format is identical to 'gpio-reserved-ranges' from a gpio-controller.
      The count of pairs must match gpio-micropython-ranges'.
      The default covers the whole possible range of a GPIO controller.

examples:
  - |
    gpio0_related {
      compatible = "micropython,related-pins-integer-generator";
      gpio-device = <&gpio0>;
      gpio-micropython-ranges = <0 32>;
    };
```

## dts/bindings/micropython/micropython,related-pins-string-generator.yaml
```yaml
# Copyright (c) 2026 MASSDRIVER EI (massdriver.space)
# SPDX-License-Identifier: Apache-2.0

title: MicroPython Related Pins using integer generator to string

description: |
        Generate a pin list associated with a GPIO device using a string format, this produces sets
        similar to the Renesas port's Pin identifiers.

compatible: "micropython,related-pins-string-generator"

include: ["micropython,related-pins-common.yaml"]

properties:
  generator-expression:
    type: string
    required: true
    description: |
      String printf expression used to generate pin names. It must only use int specifiers.

  gpio-micropython-ranges:
    type: array
    required: true
    description: |
      Integer ranges substituted in the generator expression.
      It must not overlap other generator's ranges.
      The format is identical to 'gpio-reserved-ranges' from a gpio-controller.
      The count of pairs must match gpio-zephyr-ranges'.

  gpio-zephyr-ranges:
    type: array
    default: [0, 32]
    description: |
      Integer Pin ranges on zephyr size.
      The format is identical to 'gpio-reserved-ranges' from a gpio-controller.
      The count of pairs must match gpio-micropython-ranges'.
      The default covers the whole possible range of a GPIO controller.

examples:
  - |
    gpio1_related {
      compatible = "micropython,related-pins-string-generator";
      gpio-device = <&gpio1>;
      generator-expression = "P%2d";
      gpio-micropython-ranges = <32 3>;
      gpio-zephyr-ranges = <0 3>;
    };
```

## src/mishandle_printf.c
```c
/*
* This file is part of the MicroPython project, http://micropython.org/
*
* The MIT License (MIT)
*
* Copyright (c) 2026 MASSDRIVER EI (massdriver.space)
*
* Permission is hereby granted, free of charge, to any person obtaining a copy
* of this software and associated documentation files (the "Software"), to deal
* in the Software without restriction, including without limitation the rights
* to use, copy, modify, merge, publish, distribute, sublicense, and/or sell
* copies of the Software, and to permit persons to whom the Software is
* furnished to do so, subject to the following conditions:
*
* The above copyright notice and this permission notice shall be included in
* all copies or substantial portions of the Software.
*
* THE SOFTWARE IS PROVIDED "AS IS", WITHOUT WARRANTY OF ANY KIND, EXPRESS OR
* IMPLIED, INCLUDING BUT NOT LIMITED TO THE WARRANTIES OF MERCHANTABILITY,
* FITNESS FOR A PARTICULAR PURPOSE AND NONINFRINGEMENT. IN NO EVENT SHALL THE
* AUTHORS OR COPYRIGHT HOLDERS BE LIABLE FOR ANY CLAIM, DAMAGES OR OTHER
* LIABILITY, WHETHER IN AN ACTION OF CONTRACT, TORT OR OTHERWISE, ARISING FROM,
* OUT OF OR IN CONNECTION WITH THE SOFTWARE OR THE USE OR OTHER DEALINGS IN
* THE SOFTWARE.
*/

#ifdef CONFIG_MICROPY_HANDLE_MISHANDLED_LOGGING

#include <zephyr/logging/log_core.h>

__printf_like(1, 2) int mp_mishandle_printf(const char *format, ...) {
    #ifdef CONFIG_LOG
    va_list argptr;

    va_start(argptr, format);
    log_generic(LOG_LEVEL_INF, format, argptr);
    va_end(argptr);
    #else
    ARG_UNUSED(format);
    #endif
    return 0;
}

#endif
```

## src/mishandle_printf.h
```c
/*
* This file is part of the MicroPython project, http://micropython.org/
*
* The MIT License (MIT)
*
* Copyright (c) 2026 MASSDRIVER EI (massdriver.space)
*
* Permission is hereby granted, free of charge, to any person obtaining a copy
* of this software and associated documentation files (the "Software"), to deal
* in the Software without restriction, including without limitation the rights
* to use, copy, modify, merge, publish, distribute, sublicense, and/or sell
* copies of the Software, and to permit persons to whom the Software is
* furnished to do so, subject to the following conditions:
*
* The above copyright notice and this permission notice shall be included in
* all copies or substantial portions of the Software.
*
* THE SOFTWARE IS PROVIDED "AS IS", WITHOUT WARRANTY OF ANY KIND, EXPRESS OR
* IMPLIED, INCLUDING BUT NOT LIMITED TO THE WARRANTIES OF MERCHANTABILITY,
* FITNESS FOR A PARTICULAR PURPOSE AND NONINFRINGEMENT. IN NO EVENT SHALL THE
* AUTHORS OR COPYRIGHT HOLDERS BE LIABLE FOR ANY CLAIM, DAMAGES OR OTHER
* LIABILITY, WHETHER IN AN ACTION OF CONTRACT, TORT OR OTHERWISE, ARISING FROM,
* OUT OF OR IN CONNECTION WITH THE SOFTWARE OR THE USE OR OTHER DEALINGS IN
* THE SOFTWARE.
*/

#ifndef MICROPY_INCLUDED_ZEPHYR_MISHANDLE_PRINTF_H
#define MICROPY_INCLUDED_ZEPHYR_MISHANDLE_PRINTF_H

#ifdef CONFIG_MICROPY_HANDLE_MISHANDLED_LOGGING

#if !defined(_LINKER) && !defined(_ASMLANGUAGE)
int mp_mishandle_printf(const char *format, ...);
#endif

#endif /* CONFIG_MICROPY_HANDLE_MISHANDLED_LOGGING */

#endif /* MICROPY_INCLUDED_ZEPHYR_MISHANDLE_PRINTF_H */
```

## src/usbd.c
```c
/*
* This file is part of the MicroPython project, http://micropython.org/
*
* The MIT License (MIT)
*
* Copyright (c) 2024-2025 MASSDRIVER EI (massdriver.space)
*
* Permission is hereby granted, free of charge, to any person obtaining a copy
* of this software and associated documentation files (the "Software"), to deal
* in the Software without restriction, including without limitation the rights
* to use, copy, modify, merge, publish, distribute, sublicense, and/or sell
* copies of the Software, and to permit persons to whom the Software is
* furnished to do so, subject to the following conditions:
*
* The above copyright notice and this permission notice shall be included in
* all copies or substantial portions of the Software.
*
* THE SOFTWARE IS PROVIDED "AS IS", WITHOUT WARRANTY OF ANY KIND, EXPRESS OR
* IMPLIED, INCLUDING BUT NOT LIMITED TO THE WARRANTIES OF MERCHANTABILITY,
* FITNESS FOR A PARTICULAR PURPOSE AND NONINFRINGEMENT. IN NO EVENT SHALL THE
* AUTHORS OR COPYRIGHT HOLDERS BE LIABLE FOR ANY CLAIM, DAMAGES OR OTHER
* LIABILITY, WHETHER IN AN ACTION OF CONTRACT, TORT OR OTHERWISE, ARISING FROM,
* OUT OF OR IN CONNECTION WITH THE SOFTWARE OR THE USE OR OTHER DEALINGS IN
* THE SOFTWARE.
*/
#include <stdint.h>

#include <zephyr/device.h>
#include <zephyr/usb/usbd.h>
#include <zephyr/usb/bos.h>

#if defined(CONFIG_USB_DEVICE_STACK_NEXT)

#include <zephyr/logging/log.h>
LOG_MODULE_REGISTER(mp_usbd);

#if KERNEL_VERSION_NUMBER >= ZEPHYR_VERSION(4, 1, 0)

#define BLOCKLIST , blocklist

/* By default, do not register the USB DFU class DFU mode instance. */
static const char *const blocklist[] = {
    "dfu_dfu",
    NULL,
};

#else

#define BLOCKLIST

#endif

USBD_DEVICE_DEFINE(mp_usbd,
    DEVICE_DT_GET(DT_NODELABEL(zephyr_udc0)),
    CONFIG_MICROPY_USB_DEVICE_VID, CONFIG_MICROPY_USB_DEVICE_PID);

USBD_DESC_LANG_DEFINE(mp_lang);
USBD_DESC_MANUFACTURER_DEFINE(mp_mfr, "Zephyr Project");
USBD_DESC_PRODUCT_DEFINE(mp_product, "MicroPython on Zephyr RTOS");
USBD_DESC_SERIAL_NUMBER_DEFINE(mp_sn);

USBD_DESC_CONFIG_DEFINE(fs_cfg_desc, "FS Configuration");
USBD_DESC_CONFIG_DEFINE(hs_cfg_desc, "HS Configuration");

/* not self-powered, no remote wakeup  */
static const uint8_t attributes = 0;

/* Full speed configuration
* power = 250 * 2 mA = 500mA
*/
USBD_CONFIGURATION_DEFINE(mp_fs_config,
    attributes,
    250, &fs_cfg_desc);

/* High speed configuration */
USBD_CONFIGURATION_DEFINE(mp_hs_config,
    attributes,
    250, &hs_cfg_desc);

static void mp_fix_code_triple(struct usbd_context *uds_ctx,
    const enum usbd_speed speed) {
    /* Always use class code information from Interface Descriptors */
    if (IS_ENABLED(CONFIG_USBD_CDC_ACM_CLASS) ||
        IS_ENABLED(CONFIG_USBD_CDC_ECM_CLASS) ||
        IS_ENABLED(CONFIG_USBD_CDC_NCM_CLASS) ||
        IS_ENABLED(CONFIG_USBD_AUDIO2_CLASS)) {
        /*
         * Class with multiple interfaces have an Interface
         * Association Descriptor available, use an appropriate triple
         * to indicate it.
         */
        usbd_device_set_code_triple(uds_ctx, speed,
            USB_BCC_MISCELLANEOUS, 0x02, 0x01);
    } else {
        usbd_device_set_code_triple(uds_ctx, speed, 0, 0, 0);
    }
}

struct usbd_context *mp_usbd_init_device(usbd_msg_cb_t msg_cb) {
    int err;

    err = usbd_add_descriptor(&mp_usbd, &mp_lang);
    if (err) {
        LOG_ERR("Failed to initialize language descriptor (%d)", err);
        return NULL;
    }

    err = usbd_add_descriptor(&mp_usbd, &mp_mfr);
    if (err) {
        LOG_ERR("Failed to initialize manufacturer descriptor (%d)", err);
        return NULL;
    }

    err = usbd_add_descriptor(&mp_usbd, &mp_product);
    if (err) {
        LOG_ERR("Failed to initialize product descriptor (%d)", err);
        return NULL;
    }

    err = usbd_add_descriptor(&mp_usbd, &mp_sn);
    if (err) {
        LOG_ERR("Failed to initialize SN descriptor (%d)", err);
        return NULL;
    }

    if (usbd_caps_speed(&mp_usbd) == USBD_SPEED_HS) {
        err = usbd_add_configuration(&mp_usbd, USBD_SPEED_HS,
            &mp_hs_config);
        if (err) {
            LOG_ERR("Failed to add High-Speed configuration");
            return NULL;
        }

        err = usbd_register_all_classes(&mp_usbd, USBD_SPEED_HS, 1 BLOCKLIST);
        if (err) {
            LOG_ERR("Failed to add register classes");
            return NULL;
        }

        mp_fix_code_triple(&mp_usbd, USBD_SPEED_HS);
    }

    err = usbd_add_configuration(&mp_usbd, USBD_SPEED_FS,
        &mp_fs_config);
    if (err) {
        LOG_ERR("Failed to add Full-Speed configuration");
        return NULL;
    }

    err = usbd_register_all_classes(&mp_usbd, USBD_SPEED_FS, 1 BLOCKLIST);
    if (err) {
        LOG_ERR("Failed to add register classes");
        return NULL;
    }

    mp_fix_code_triple(&mp_usbd, USBD_SPEED_FS);

    if (msg_cb != NULL) {
        err = usbd_msg_register_cb(&mp_usbd, msg_cb);
        if (err) {
            LOG_ERR("Failed to register message callback");
            return NULL;
        }
    }

    err = usbd_init(&mp_usbd);
    if (err) {
        LOG_ERR("Failed to initialize device support");
        return NULL;
    }

    return &mp_usbd;
}

static struct usbd_context *mp_usbd_context;

int mp_usbd_init(void) {
    int err;

    mp_usbd_context = mp_usbd_init_device(NULL);
    if (mp_usbd_context == NULL) {
        return -ENODEV;
    }

    err = usbd_enable(mp_usbd_context);
    if (err) {
        return err;
    }

    return 0;
}

#endif // defined(CONFIG_USB_DEVICE_STACK_NEXT)
```

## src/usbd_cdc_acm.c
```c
/*
* This file is part of the MicroPython project, http://micropython.org/
*
* The MIT License (MIT)
*
* Copyright (c) 2024 MASSDRIVER EI (massdriver.space)
*
* Permission is hereby granted, free of charge, to any person obtaining a copy
* of this software and associated documentation files (the "Software"), to deal
* in the Software without restriction, including without limitation the rights
* to use, copy, modify, merge, publish, distribute, sublicense, and/or sell
* copies of the Software, and to permit persons to whom the Software is
* furnished to do so, subject to the following conditions:
*
* The above copyright notice and this permission notice shall be included in
* all copies or substantial portions of the Software.
*
* THE SOFTWARE IS PROVIDED "AS IS", WITHOUT WARRANTY OF ANY KIND, EXPRESS OR
* IMPLIED, INCLUDING BUT NOT LIMITED TO THE WARRANTIES OF MERCHANTABILITY,
* FITNESS FOR A PARTICULAR PURPOSE AND NONINFRINGEMENT. IN NO EVENT SHALL THE
* AUTHORS OR COPYRIGHT HOLDERS BE LIABLE FOR ANY CLAIM, DAMAGES OR OTHER
* LIABILITY, WHETHER IN AN ACTION OF CONTRACT, TORT OR OTHERWISE, ARISING FROM,
* OUT OF OR IN CONNECTION WITH THE SOFTWARE OR THE USE OR OTHER DEALINGS IN
* THE SOFTWARE.
*/
#include <stdint.h>

#include <zephyr/device.h>
#include <zephyr/usb/usbd.h>
#include <zephyr/usb/bos.h>

#include "../mpconfigport.h"

#include <zephyr/logging/log.h>
LOG_MODULE_REGISTER(mpy_usbd_cdc_acm);

#ifndef MICROPY_HW_USB_VID
#define MICROPY_HW_USB_VID              0x2fe3
#endif

#ifndef MICROPY_HW_USB_PID
#define MICROPY_HW_USB_PID              0x0001
#endif

USBD_DEVICE_DEFINE(mpy_usbd,
    DEVICE_DT_GET(DT_NODELABEL(zephyr_udc0)),
    MICROPY_HW_USB_VID, MICROPY_HW_USB_PID);

USBD_DESC_LANG_DEFINE(mpy_lang);
USBD_DESC_MANUFACTURER_DEFINE(mpy_mfr, "Zephyr Project");
USBD_DESC_PRODUCT_DEFINE(mpy_product, "Micropython on Zephyr RTOS");
USBD_DESC_SERIAL_NUMBER_DEFINE(mpy_sn);

USBD_DESC_CONFIG_DEFINE(fs_cfg_desc, "FS Configuration");
USBD_DESC_CONFIG_DEFINE(hs_cfg_desc, "HS Configuration");

/* not self-powered, no remote wakeup  */
static const uint8_t attributes = 0;

/* Full speed configuration
* power = 250 * 2 mA = 500mA
*/
USBD_CONFIGURATION_DEFINE(mpy_fs_config,
    attributes,
    250, &fs_cfg_desc);

/* High speed configuration */
USBD_CONFIGURATION_DEFINE(mpy_hs_config,
    attributes,
    250, &hs_cfg_desc);

static void mpy_fix_code_triple(struct usbd_context *uds_ctx,
    const enum usbd_speed speed) {
    /* Always use class code information from Interface Descriptors */
    if (IS_ENABLED(CONFIG_USBD_CDC_ACM_CLASS) ||
        IS_ENABLED(CONFIG_USBD_CDC_ECM_CLASS) ||
        IS_ENABLED(CONFIG_USBD_CDC_NCM_CLASS) ||
        IS_ENABLED(CONFIG_USBD_AUDIO2_CLASS)) {
        /*
         * Class with multiple interfaces have an Interface
         * Association Descriptor available, use an appropriate triple
         * to indicate it.
         */
        usbd_device_set_code_triple(uds_ctx, speed,
            USB_BCC_MISCELLANEOUS, 0x02, 0x01);
    } else {
        usbd_device_set_code_triple(uds_ctx, speed, 0, 0, 0);
    }
}

struct usbd_context *mpy_usbd_init_device(usbd_msg_cb_t msg_cb) {
    int err;

    err = usbd_add_descriptor(&mpy_usbd, &mpy_lang);
    if (err) {
        LOG_ERR("Failed to initialize language descriptor (%d)", err);
        return NULL;
    }

    err = usbd_add_descriptor(&mpy_usbd, &mpy_mfr);
    if (err) {
        LOG_ERR("Failed to initialize manufacturer descriptor (%d)", err);
        return NULL;
    }

    err = usbd_add_descriptor(&mpy_usbd, &mpy_product);
    if (err) {
        LOG_ERR("Failed to initialize product descriptor (%d)", err);
        return NULL;
    }

    err = usbd_add_descriptor(&mpy_usbd, &mpy_sn);
    if (err) {
        LOG_ERR("Failed to initialize SN descriptor (%d)", err);
        return NULL;
    }

    if (usbd_caps_speed(&mpy_usbd) == USBD_SPEED_HS) {
        err = usbd_add_configuration(&mpy_usbd, USBD_SPEED_HS,
            &mpy_hs_config);
        if (err) {
            LOG_ERR("Failed to add High-Speed configuration");
            return NULL;
        }

        err = usbd_register_all_classes(&mpy_usbd, USBD_SPEED_HS, 1);
        if (err) {
            LOG_ERR("Failed to add register classes");
            return NULL;
        }

        mpy_fix_code_triple(&mpy_usbd, USBD_SPEED_HS);
    }

    err = usbd_add_configuration(&mpy_usbd, USBD_SPEED_FS,
        &mpy_fs_config);
    if (err) {
        LOG_ERR("Failed to add Full-Speed configuration");
        return NULL;
    }

    err = usbd_register_all_classes(&mpy_usbd, USBD_SPEED_FS, 1);
    if (err) {
        LOG_ERR("Failed to add register classes");
        return NULL;
    }

    mpy_fix_code_triple(&mpy_usbd, USBD_SPEED_FS);

    if (msg_cb != NULL) {
        err = usbd_msg_register_cb(&mpy_usbd, msg_cb);
        if (err) {
            LOG_ERR("Failed to register message callback");
            return NULL;
        }
    }

    err = usbd_init(&mpy_usbd);
    if (err) {
        LOG_ERR("Failed to initialize device support");
        return NULL;
    }

    return &mpy_usbd;
}
```
